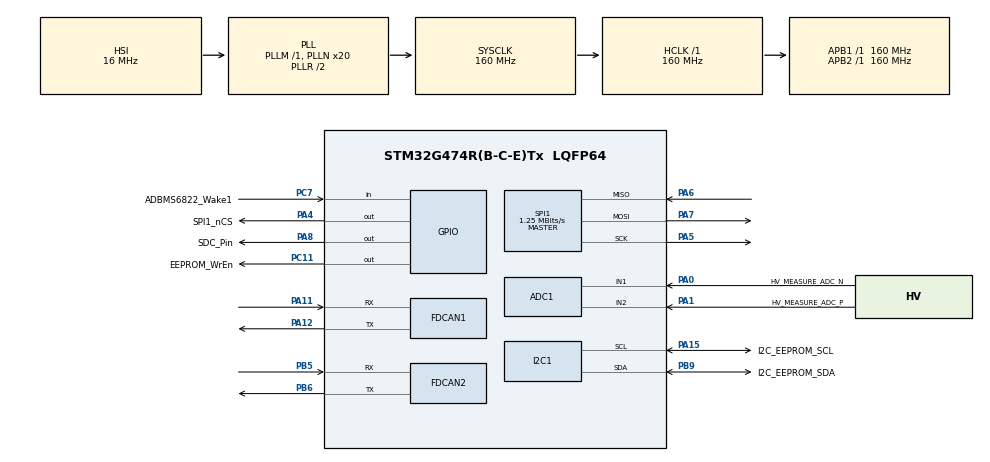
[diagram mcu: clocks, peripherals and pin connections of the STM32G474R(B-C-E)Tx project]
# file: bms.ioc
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ADC1.Channel-2\#ChannelRegularConversion=ADC_CHANNEL_1
ADC1.NbrOfConversionFlag=1
ADC1.OffsetNumber-2\#ChannelRegularConversion=ADC_OFFSET_NONE
ADC1.Rank-2\#ChannelRegularConversion=1
ADC1.SamplingTime-2\#ChannelRegularConversion=ADC_SAMPLETIME_2CYCLES_5
ADC1.SingleDiff-2\#ChannelRegularConversion=ADC_DIFFERENTIAL_ENDED
ADC1.master=1
Dma.Request0=SPI1_RX
Dma.Request1=SPI1_TX
Dma.SPI1_RX.0.Direction=DMA_PERIPH_TO_MEMORY
Dma.SPI1_RX.0.EventEnable=DISABLE
Dma.SPI1_RX.0.Instance=DMA1_Channel1
Dma.SPI1_RX.0.MemDataAlignment=DMA_MDATAALIGN_BYTE
Dma.SPI1_RX.0.MemInc=DMA_MINC_ENABLE
Dma.SPI1_RX.0.Mode=DMA_NORMAL
Dma.SPI1_RX.0.PeriphDataAlignment=DMA_PDATAALIGN_BYTE
Dma.SPI1_RX.0.PeriphInc=DMA_PINC_DISABLE
Dma.SPI1_RX.0.Polarity=HAL_DMAMUX_REQ_GEN_RISING
Dma.SPI1_RX.0.Priority=DMA_PRIORITY_MEDIUM
Dma.SPI1_RX.0.RequestNumber=1
Dma.SPI1_RX.0.SignalID=NONE
Dma.SPI1_RX.0.SyncEnable=DISABLE
Dma.SPI1_RX.0.SyncPolarity=HAL_DMAMUX_SYNC_NO_EVENT
Dma.SPI1_RX.0.SyncRequestNumber=1
Dma.SPI1_RX.0.SyncSignalID=NONE
Dma.SPI1_TX.1.Direction=DMA_MEMORY_TO_PERIPH
Dma.SPI1_TX.1.EventEnable=DISABLE
Dma.SPI1_TX.1.Instance=DMA1_Channel2
Dma.SPI1_TX.1.MemDataAlignment=DMA_MDATAALIGN_BYTE
Dma.SPI1_TX.1.MemInc=DMA_MINC_ENABLE
Dma.SPI1_TX.1.Mode=DMA_NORMAL
Dma.SPI1_TX.1.PeriphDataAlignment=DMA_PDATAALIGN_BYTE
Dma.SPI1_TX.1.PeriphInc=DMA_PINC_DISABLE
Dma.SPI1_TX.1.Polarity=HAL_DMAMUX_REQ_GEN_RISING
Dma.SPI1_TX.1.Priority=DMA_PRIORITY_LOW
Dma.SPI1_TX.1.RequestNumber=1
Dma.SPI1_TX.1.SignalID=NONE
Dma.SPI1_TX.1.SyncEnable=DISABLE
Dma.SPI1_TX.1.SyncPolarity=HAL_DMAMUX_SYNC_NO_EVENT
Dma.SPI1_TX.1.SyncRequestNumber=1
Dma.SPI1_TX.1.SyncSignalID=NONE
FDCAN1.AutoRetransmission=ENABLE
FDCAN1.CalculateBaudRateNominal=500000
FDCAN1.CalculateTimeBitNominal=2000
FDCAN1.CalculateTimeQuantumNominal=100.0
FDCAN1.ClockDivider=FDCAN_CLOCK_DIV1
FDCAN1.DataPrescaler=4
FDCAN1.DataSyncJumpWidth=4
FDCAN1.DataTimeSeg1=15
FDCAN1.DataTimeSeg2=4
FDCAN1.ExtFiltersNbr=2
FDCAN1.NominalPrescaler=4
FDCAN1.NominalSyncJumpWidth=4
FDCAN1.NominalTimeSeg1=15
FDCAN1.NominalTimeSeg2=4
FDCAN2.AutoRetransmission=ENABLE
FDCAN2.CalculateBaudRateNominal=1000000
FDCAN2.CalculateTimeBitNominal=1000
FDCAN2.CalculateTimeQuantumNominal=50.0
FDCAN2.DataPrescaler=2
FDCAN2.DataSyncJumpWidth=4
FDCAN2.DataTimeSeg1=15
FDCAN2.DataTimeSeg2=4
FDCAN2.ExtFiltersNbr=2
FDCAN2.FrameFormat=FDCAN_FRAME_FD_NO_BRS
FDCAN2.NominalPrescaler=2
FDCAN2.NominalSyncJumpWidth=4
FDCAN2.NominalTimeSeg1=15
FDCAN2.NominalTimeSeg2=4
FDCAN2.StdFiltersNbr=2
FREERTOS.HEAP_NUMBER=4
FREERTOS.Tasks01=defaultTask,24,128,defaultTaskFn,Default,NULL,Dynamic,NULL,NULL
FREERTOS.configCHECK_FOR_STACK_OVERFLOW=2
FREERTOS.configENABLE_FPU=1
FREERTOS.configGENERATE_RUN_TIME_STATS=0
FREERTOS.configTOTAL_HEAP_SIZE=20480
FREERTOS.configUSE_MALLOC_FAILED_HOOK=1
FREERTOS.configUSE_STATS_FORMATTING_FUNCTIONS=1
I2C1.Timing=0x30D29DE4
Mcu.Family=STM32G4
Mcu.Name=STM32G474R(B-C-E)Tx
Mcu.Package=LQFP64
NVIC.DMA1_Channel1_IRQn=true\:6\:0\:true\:false\:true\:true\:false\:true\:true
NVIC.DMA1_Channel2_IRQn=true\:6\:0\:true\:false\:true\:true\:false\:true\:true
NVIC.FDCAN1_IT0_IRQn=true\:5\:0\:false\:false\:true\:true\:true\:true\:true
NVIC.FDCAN2_IT0_IRQn=true\:5\:0\:false\:false\:true\:true\:true\:true\:true
NVIC.PriorityGroup=NVIC_PRIORITYGROUP_4
NVIC.TIM5_IRQn=true\:15\:0\:false\:false\:true\:false\:false\:true\:true
NVIC.TimeBase=TIM5_IRQn
NVIC.TimeBaseIP=TIM5
PA0.GPIO_Label=HV_MEASURE_ADC_N
PA0.Mode=IN1-Differential
PA0.Signal=ADC1_IN1
PA1.GPIO_Label=HV_MEASURE_ADC_P
PA1.Mode=IN1-Differential
PA1.Signal=ADC1_IN2
PA11.Mode=FDCAN_Activate
PA11.Signal=FDCAN1_RX
PA12.Mode=FDCAN_Activate
PA12.Signal=FDCAN1_TX
PA13.GPIO_Label=SWD_SWDIO
PA13.Mode=Trace_Asynchronous_SW
PA13.Signal=SYS_JTMS-SWDIO
PA14.GPIO_Label=SWD_SWCLK
PA14.Mode=Trace_Asynchronous_SW
PA14.Signal=SYS_JTCK-SWCLK
PA15.GPIO_Label=I2C_EEPROM_SCL
PA15.Mode=I2C
PA15.Signal=I2C1_SCL
PA4.GPIO_Label=SPI1_nCS
PA4.PinState=GPIO_PIN_SET
PA4.Signal=GPIO_Output
PA5.Mode=Full_Duplex_Master
PA5.Signal=SPI1_SCK
PA6.Mode=Full_Duplex_Master
PA6.Signal=SPI1_MISO
PA7.Mode=Full_Duplex_Master
PA7.Signal=SPI1_MOSI
PA8.GPIO_Label=SDC_Pin
PA8.Signal=GPIO_Output
PB3.GPIO_Label=SWD_SWO
PB3.Mode=Trace_Asynchronous_SW
PB3.Signal=SYS_JTDO-SWO
PB5.Mode=FDCAN_Activate
PB5.Signal=FDCAN2_RX
PB6.Mode=FDCAN_Activate
PB6.Signal=FDCAN2_TX
PB9.GPIO_Label=I2C_EEPROM_SDA
PB9.Mode=I2C
PB9.Signal=I2C1_SDA
PC11.GPIO_Label=EEPROM_WrEn
PC11.Signal=GPIO_Output
PC7.GPIO_Label=ADBMS6822_Wake1
PC7.Signal=GPIO_Input
PF0-OSC_IN.GPIO_Label=RCC_OSC_IN
PF0-OSC_IN.Mode=HSE-External-Oscillator
PF0-OSC_IN.Signal=RCC_OSC_IN
PF1-OSC_OUT.GPIO_Label=RCC_OSC_OUT
PF1-OSC_OUT.Mode=HSE-External-Oscillator
PF1-OSC_OUT.Signal=RCC_OSC_OUT
ProjectManager.HeapSize=0x200
ProjectManager.StackSize=0x400
ProjectManager.TargetToolchain=CMake
RCC.ADC12Freq_Value=160000000
RCC.ADC345Freq_Value=160000000
RCC.AHBFreq_Value=160000000
RCC.APB1Freq_Value=160000000
RCC.APB1TimFreq_Value=160000000
RCC.APB2Freq_Value=160000000
RCC.APB2TimFreq_Value=160000000
RCC.CortexFreq_Value=160000000
RCC.EXTERNAL_CLOCK_VALUE=12288000
RCC.FDCANCLockSelection=RCC_FDCANCLKSOURCE_PLL
RCC.HCLKFreq_Value=160000000
RCC.HSE_VALUE=40000000
RCC.HSI48_VALUE=48000000
RCC.HSI_VALUE=16000000
RCC.LSE_VALUE=32768
RCC.PLLN=20
RCC.PLLQ=RCC_PLLQ_DIV8
RCC.RTCClockSelection=RCC_RTCCLKSOURCE_LSE
RCC.SYSCLKFreq_VALUE=160000000
RCC.SYSCLKSource=RCC_SYSCLKSOURCE_PLLCLK
RCC.USBFreq_Value=40000000
RCC.VCOOutputFreq_Value=320000000
SPI1.BaudRatePrescaler=SPI_BAUDRATEPRESCALER_128
SPI1.CLKPhase=SPI_PHASE_2EDGE
SPI1.CLKPolarity=SPI_POLARITY_HIGH
SPI1.CalculateBaudRate=1.25 MBits/s
SPI1.DataSize=SPI_DATASIZE_8BIT
SPI1.Direction=SPI_DIRECTION_2LINES
SPI1.Mode=SPI_MODE_MASTER
SPI1.VirtualType=VM_MASTER
TIM2.Prescaler=159
VP_FREERTOS_VS_CMSIS_V2.Mode=CMSIS_V2
VP_SYS_VS_DBSignals.Mode=DisableDeadBatterySignals
VP_SYS_VS_tim5.Mode=TIM5
VP_TIM2_VS_ClockSourceINT.Mode=Internal
VP_TIM3_VS_ClockSourceINT.Mode=Internal
board=NUCLEO-G474RE

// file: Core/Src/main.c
/* USER CODE BEGIN Header */
/**
 ******************************************************************************
 * @file           : main.c
 * @brief          : Main program body
 ******************************************************************************
 * @attention
 *
 * Copyright (c) 2025 STMicroelectronics.
 * All rights reserved.
 *
 * This software is licensed under terms that can be found in the LICENSE file
 * in the root directory of this software component.
 * If no LICENSE file comes with this software, it is provided AS-IS.
 *
 ******************************************************************************
 */
/* USER CODE END Header */
#include "main.h"
#include "cmsis_os.h"

/* USER CODE BEGIN Includes */

#include "bms_board.h"
#include "can.h"
#include "can2_job.h"
#include "bms_watchdog.h"
#include "ev27_port.h"
#include "fdcan.h"
#include "gui_can_job.h"
#include "gui_types.h"
#include "safety_monitor.h"
#include "state.h"
#include "supervisor.h"
#include <string.h>

/* USER CODE END Includes */

ADC_HandleTypeDef hadc1;

FDCAN_HandleTypeDef hfdcan1;
FDCAN_HandleTypeDef hfdcan2;

I2C_HandleTypeDef hi2c1;

SPI_HandleTypeDef hspi1;
DMA_HandleTypeDef hdma_spi1_rx;
DMA_HandleTypeDef hdma_spi1_tx;

TIM_HandleTypeDef htim2;
TIM_HandleTypeDef htim3;

/* Definitions for defaultTask */
osThreadId_t defaultTaskHandle;
const osThreadAttr_t defaultTask_attributes = {
  .name = "defaultTask",
  .priority = (osPriority_t) osPriorityNormal,
  .stack_size = 128 * 4
};
/* USER CODE BEGIN PV */
osThreadId_t spi_thread_pid;
osMutexId_t spi_mutex_id;
osMutexId_t bms_mutex_id;
osMessageQueueId_t fdcan_rx_dispatch_queueHandle;
osMessageQueueId_t can2_rx_dispatch_queueHandle;
osMessageQueueId_t can2_rx_processing_queueHandle;
osMessageQueueId_t charger_power_setpoint_queueHandle;

/* USER CODE END PV */

void SystemClock_Config(void);
static void MX_GPIO_Init(void);
static void MX_DMA_Init(void);
static void MX_ADC1_Init(void);
static void MX_SPI1_Init(void);
static void MX_FDCAN1_Init(void);
static void MX_FDCAN2_Init(void);
static void MX_TIM3_Init(void);
static void MX_I2C1_Init(void);
static void MX_TIM2_Init(void);
void defaultTaskFn(void *argument);

/* USER CODE BEGIN PFP */
static void bms_controller_config_apply(void);

/* USER CODE END PFP */

int main(void)
{

  /* MCU Configuration--------------------------------------------------------*/

  /* Reset of all peripherals, Initializes the Flash interface and the Systick. */
  HAL_Init();

  /* Configure the system clock */
  SystemClock_Config();

  /* Initialize all configured peripherals */
  MX_GPIO_Init();
  MX_DMA_Init();
  MX_ADC1_Init();
  MX_SPI1_Init();
  MX_FDCAN1_Init();
  MX_FDCAN2_Init();
  MX_TIM3_Init();
  MX_I2C1_Init();
  MX_TIM2_Init();
  /* USER CODE BEGIN 2 */
  bms_watchdog_start();          /* 20 s BMS watchdog + 25 s IWDG backstop (App/services/watchdog) */
  bms_controller_config_apply();/* pin/SPI overrides for BMS_BOARD (see App/config/bms_board.h) */
  HAL_TIM_Base_Start(&htim2);   /* 1 MHz free-running counter for ev27_port_time_us() */

  /* USER CODE END 2 */

  /* Init scheduler */
  osKernelInitialize();

  /* USER CODE BEGIN RTOS_MUTEX */
  spi_mutex_id = osMutexNew(&spi_mutex_attr);
  bms_mutex_id = osMutexNew(&bms_mutex_attr);
  /* add mutexes, ... */
  /* USER CODE END RTOS_MUTEX */

  /* USER CODE BEGIN RTOS_QUEUES */
  /* add queues, ... */
  fdcan_rx_dispatch_queueHandle =
      osMessageQueueNew(16, sizeof(fdcan_msg_t), NULL);
  configASSERT(fdcan_rx_dispatch_queueHandle != NULL);

  can2_rx_dispatch_queueHandle =
      osMessageQueueNew(16, sizeof(can2_msg_t), NULL);
  configASSERT(can2_rx_dispatch_queueHandle != NULL);

  charger_power_setpoint_queueHandle =
      osMessageQueueNew(1, sizeof(charger_power_setpoint_t),
                        &charger_power_setpoint_queue_attributes);
  configASSERT(charger_power_setpoint_queueHandle != NULL);

  /* main bus (FDCAN2): ev27 + GUI filters, RX queue, then starts FDCAN2 */
  ev27_can_start();
  configASSERT(ev27_rx_queue != NULL);
  /* USER CODE END RTOS_QUEUES */

  /* Create the thread(s) */
  /* creation of defaultTask */
  defaultTaskHandle = osThreadNew(defaultTaskFn, NULL, &defaultTask_attributes);

  /* USER CODE BEGIN RTOS_THREADS */
  /* add threads, ... */
  osThreadId_t bms_safety_osTaskHandler __attribute__((unused)) =
      osThreadNew(bms_safety_task, (void *)&bms_safety_task_time,
                  &bms_safety_task_attributes);
  configASSERT(bms_safety_osTaskHandler != NULL);

  // osThreadId_t gui_can_job_osTaskHandler __attribute__((unused)) =
  osThreadId_t gui_can_job_osTaskHandler __attribute__((unused)) =
      osThreadNew(gui_can_job_runner, NULL, &gui_can_job_runner_attributes);
  configASSERT(gui_can_job_osTaskHandler != NULL);

  // osThreadId_t can2_job_osTaskHandler __attribute__((unused)) =
  osThreadId_t can2_job_osTaskHandler __attribute__((unused)) =
      osThreadNew(can2_job_runner, NULL, &can2_job_runner_attributes);
  configASSERT(can2_job_osTaskHandler != NULL);

  /* main bus: ev27 TimeSync/Command/ChargeControl in, every BMS message out */
  osThreadId_t ev27_can_rx_osTaskHandler __attribute__((unused)) =
      osThreadNew(ev27_can_rx_task, NULL, &ev27_can_rx_task_attributes);
  configASSERT(ev27_can_rx_osTaskHandler != NULL);

  osThreadId_t ev27_can_tx_osTaskHandler __attribute__((unused)) =
      osThreadNew(ev27_can_tx_task, NULL, &ev27_can_tx_task_attributes);
  configASSERT(ev27_can_tx_osTaskHandler != NULL);

  /* USER CODE END RTOS_THREADS */

  /* USER CODE BEGIN RTOS_EVENTS */
  charging_session_active_osEventFlags =
    osEventFlagsNew(&charging_session_active_event_attr);
  configASSERT(charging_session_active_osEventFlags != NULL);
  /* add events, ... */
  /* USER CODE END RTOS_EVENTS */

  /* Start scheduler */
  osKernelStart();

  /* We should never get here as control is now taken by the scheduler */

  /* Infinite loop */
  while (1) {

  }
}

void SystemClock_Config(void)
{
  RCC_OscInitTypeDef RCC_OscInitStruct = {0};
  RCC_ClkInitTypeDef RCC_ClkInitStruct = {0};

  /** Configure the main internal regulator output voltage
  */
  HAL_PWREx_ControlVoltageScaling(PWR_REGULATOR_VOLTAGE_SCALE1_BOOST);

  /** Initializes the RCC Oscillators according to the specified parameters
  * in the RCC_OscInitTypeDef structure.
  */
  RCC_OscInitStruct.OscillatorType = RCC_OSCILLATORTYPE_HSI;
  RCC_OscInitStruct.HSIState = RCC_HSI_ON;
  RCC_OscInitStruct.HSICalibrationValue = RCC_HSICALIBRATION_DEFAULT;
  RCC_OscInitStruct.PLL.PLLState = RCC_PLL_ON;
  RCC_OscInitStruct.PLL.PLLSource = RCC_PLLSOURCE_HSI;
  RCC_OscInitStruct.PLL.PLLM = RCC_PLLM_DIV1;
  RCC_OscInitStruct.PLL.PLLN = 20;
  RCC_OscInitStruct.PLL.PLLP = RCC_PLLP_DIV2;
  RCC_OscInitStruct.PLL.PLLQ = RCC_PLLQ_DIV8;
  RCC_OscInitStruct.PLL.PLLR = RCC_PLLR_DIV2;
  if (HAL_RCC_OscConfig(&RCC_OscInitStruct) != HAL_OK)
  {
    Error_Handler();
  }

  /** Initializes the CPU, AHB and APB buses clocks
  */
  RCC_ClkInitStruct.ClockType = RCC_CLOCKTYPE_HCLK|RCC_CLOCKTYPE_SYSCLK
                              |RCC_CLOCKTYPE_PCLK1|RCC_CLOCKTYPE_PCLK2;
  RCC_ClkInitStruct.SYSCLKSource = RCC_SYSCLKSOURCE_PLLCLK;
  RCC_ClkInitStruct.AHBCLKDivider = RCC_SYSCLK_DIV1;
  RCC_ClkInitStruct.APB1CLKDivider = RCC_HCLK_DIV1;
  RCC_ClkInitStruct.APB2CLKDivider = RCC_HCLK_DIV1;

  if (HAL_RCC_ClockConfig(&RCC_ClkInitStruct, FLASH_LATENCY_4) != HAL_OK)
  {
    Error_Handler();
  }
}

static void MX_ADC1_Init(void)
{

  ADC_MultiModeTypeDef multimode = {0};
  ADC_ChannelConfTypeDef sConfig = {0};

  /** Common config
  */
  hadc1.Instance = ADC1;
  hadc1.Init.ClockPrescaler = ADC_CLOCK_SYNC_PCLK_DIV4;
  hadc1.Init.Resolution = ADC_RESOLUTION_12B;
  hadc1.Init.DataAlign = ADC_DATAALIGN_RIGHT;
  hadc1.Init.GainCompensation = 0;
  hadc1.Init.ScanConvMode = ADC_SCAN_DISABLE;
  hadc1.Init.EOCSelection = ADC_EOC_SINGLE_CONV;
  hadc1.Init.LowPowerAutoWait = DISABLE;
  hadc1.Init.ContinuousConvMode = DISABLE;
  hadc1.Init.NbrOfConversion = 1;
  hadc1.Init.DiscontinuousConvMode = DISABLE;
  hadc1.Init.ExternalTrigConv = ADC_SOFTWARE_START;
  hadc1.Init.ExternalTrigConvEdge = ADC_EXTERNALTRIGCONVEDGE_NONE;
  hadc1.Init.DMAContinuousRequests = DISABLE;
  hadc1.Init.Overrun = ADC_OVR_DATA_PRESERVED;
  hadc1.Init.OversamplingMode = DISABLE;
  if (HAL_ADC_Init(&hadc1) != HAL_OK)
  {
    Error_Handler();
  }

  /** Configure the ADC multi-mode
  */
  multimode.Mode = ADC_MODE_INDEPENDENT;
  if (HAL_ADCEx_MultiModeConfigChannel(&hadc1, &multimode) != HAL_OK)
  {
    Error_Handler();
  }

  /** Configure Regular Channel
  */
  sConfig.Channel = ADC_CHANNEL_1;
  sConfig.Rank = ADC_REGULAR_RANK_1;
  sConfig.SamplingTime = ADC_SAMPLETIME_2CYCLES_5;
  sConfig.SingleDiff = ADC_DIFFERENTIAL_ENDED;
  sConfig.OffsetNumber = ADC_OFFSET_NONE;
  sConfig.Offset = 0;
  if (HAL_ADC_ConfigChannel(&hadc1, &sConfig) != HAL_OK)
  {
    Error_Handler();
  }

}

static void MX_FDCAN1_Init(void)
{

  hfdcan1.Instance = FDCAN1;
  hfdcan1.Init.ClockDivider = FDCAN_CLOCK_DIV1;
  hfdcan1.Init.FrameFormat = FDCAN_FRAME_CLASSIC;
  hfdcan1.Init.Mode = FDCAN_MODE_NORMAL;
  hfdcan1.Init.AutoRetransmission = ENABLE;
  hfdcan1.Init.TransmitPause = DISABLE;
  hfdcan1.Init.ProtocolException = DISABLE;
  hfdcan1.Init.NominalPrescaler = 4;
  hfdcan1.Init.NominalSyncJumpWidth = 4;
  hfdcan1.Init.NominalTimeSeg1 = 15;
  hfdcan1.Init.NominalTimeSeg2 = 4;
  hfdcan1.Init.DataPrescaler = 4;
  hfdcan1.Init.DataSyncJumpWidth = 4;
  hfdcan1.Init.DataTimeSeg1 = 15;
  hfdcan1.Init.DataTimeSeg2 = 4;
  hfdcan1.Init.StdFiltersNbr = 0;
  hfdcan1.Init.ExtFiltersNbr = 2;
  hfdcan1.Init.TxFifoQueueMode = FDCAN_TX_FIFO_OPERATION;
  if (HAL_FDCAN_Init(&hfdcan1) != HAL_OK)
  {
    Error_Handler();
  }

}

static void MX_FDCAN2_Init(void)
{

  hfdcan2.Instance = FDCAN2;
  hfdcan2.Init.ClockDivider = FDCAN_CLOCK_DIV1;
  hfdcan2.Init.FrameFormat = FDCAN_FRAME_FD_NO_BRS;
  hfdcan2.Init.Mode = FDCAN_MODE_NORMAL;
  hfdcan2.Init.AutoRetransmission = ENABLE;
  hfdcan2.Init.TransmitPause = DISABLE;
  hfdcan2.Init.ProtocolException = DISABLE;
  hfdcan2.Init.NominalPrescaler = 2;
  hfdcan2.Init.NominalSyncJumpWidth = 4;
  hfdcan2.Init.NominalTimeSeg1 = 15;
  hfdcan2.Init.NominalTimeSeg2 = 4;
  hfdcan2.Init.DataPrescaler = 2;
  hfdcan2.Init.DataSyncJumpWidth = 4;
  hfdcan2.Init.DataTimeSeg1 = 15;
  hfdcan2.Init.DataTimeSeg2 = 4;
  hfdcan2.Init.StdFiltersNbr = 2;
  hfdcan2.Init.ExtFiltersNbr = 2;
  hfdcan2.Init.TxFifoQueueMode = FDCAN_TX_FIFO_OPERATION;
  if (HAL_FDCAN_Init(&hfdcan2) != HAL_OK)
  {
    Error_Handler();
  }

}

static void MX_I2C1_Init(void)
{

  hi2c1.Instance = I2C1;
  hi2c1.Init.Timing = 0x30D29DE4;
  hi2c1.Init.OwnAddress1 = 0;
  hi2c1.Init.AddressingMode = I2C_ADDRESSINGMODE_7BIT;
  hi2c1.Init.DualAddressMode = I2C_DUALADDRESS_DISABLE;
  hi2c1.Init.OwnAddress2 = 0;
  hi2c1.Init.OwnAddress2Masks = I2C_OA2_NOMASK;
  hi2c1.Init.GeneralCallMode = I2C_GENERALCALL_DISABLE;
  hi2c1.Init.NoStretchMode = I2C_NOSTRETCH_DISABLE;
  if (HAL_I2C_Init(&hi2c1) != HAL_OK)
  {
    Error_Handler();
  }

  /** Configure Analogue filter
  */
  if (HAL_I2CEx_ConfigAnalogFilter(&hi2c1, I2C_ANALOGFILTER_ENABLE) != HAL_OK)
  {
    Error_Handler();
  }

  /** Configure Digital filter
  */
  if (HAL_I2CEx_ConfigDigitalFilter(&hi2c1, 0) != HAL_OK)
  {
    Error_Handler();
  }

}

static void MX_SPI1_Init(void)
{

  /* SPI1 parameter configuration*/
  hspi1.Instance = SPI1;
  hspi1.Init.Mode = SPI_MODE_MASTER;
  hspi1.Init.Direction = SPI_DIRECTION_2LINES;
  hspi1.Init.DataSize = SPI_DATASIZE_8BIT;
  hspi1.Init.CLKPolarity = SPI_POLARITY_HIGH;
  hspi1.Init.CLKPhase = SPI_PHASE_2EDGE;
  hspi1.Init.NSS = SPI_NSS_SOFT;
  hspi1.Init.BaudRatePrescaler = SPI_BAUDRATEPRESCALER_128;
  hspi1.Init.FirstBit = SPI_FIRSTBIT_MSB;
  hspi1.Init.TIMode = SPI_TIMODE_DISABLE;
  hspi1.Init.CRCCalculation = SPI_CRCCALCULATION_DISABLE;
  hspi1.Init.CRCPolynomial = 7;
  hspi1.Init.CRCLength = SPI_CRC_LENGTH_DATASIZE;
  hspi1.Init.NSSPMode = SPI_NSS_PULSE_DISABLE;
  if (HAL_SPI_Init(&hspi1) != HAL_OK)
  {
    Error_Handler();
  }

}

static void MX_TIM2_Init(void)
{

  TIM_ClockConfigTypeDef sClockSourceConfig = {0};
  TIM_MasterConfigTypeDef sMasterConfig = {0};

  htim2.Instance = TIM2;
  htim2.Init.Prescaler = 159;
  htim2.Init.CounterMode = TIM_COUNTERMODE_UP;
  htim2.Init.Period = 4294967295;
  htim2.Init.ClockDivision = TIM_CLOCKDIVISION_DIV1;
  htim2.Init.AutoReloadPreload = TIM_AUTORELOAD_PRELOAD_DISABLE;
  if (HAL_TIM_Base_Init(&htim2) != HAL_OK)
  {
    Error_Handler();
  }
  sClockSourceConfig.ClockSource = TIM_CLOCKSOURCE_INTERNAL;
  if (HAL_TIM_ConfigClockSource(&htim2, &sClockSourceConfig) != HAL_OK)
  {
    Error_Handler();
  }
  sMasterConfig.MasterOutputTrigger = TIM_TRGO_RESET;
  sMasterConfig.MasterSlaveMode = TIM_MASTERSLAVEMODE_DISABLE;
  if (HAL_TIMEx_MasterConfigSynchronization(&htim2, &sMasterConfig) != HAL_OK)
  {
    Error_Handler();
  }

}

static void MX_TIM3_Init(void)
{

  TIM_ClockConfigTypeDef sClockSourceConfig = {0};
  TIM_MasterConfigTypeDef sMasterConfig = {0};

  htim3.Instance = TIM3;
  htim3.Init.Prescaler = 0;
  htim3.Init.CounterMode = TIM_COUNTERMODE_UP;
  htim3.Init.Period = 65535;
  htim3.Init.ClockDivision = TIM_CLOCKDIVISION_DIV1;
  htim3.Init.AutoReloadPreload = TIM_AUTORELOAD_PRELOAD_DISABLE;
  if (HAL_TIM_Base_Init(&htim3) != HAL_OK)
  {
    Error_Handler();
  }
  sClockSourceConfig.ClockSource = TIM_CLOCKSOURCE_INTERNAL;
  if (HAL_TIM_ConfigClockSource(&htim3, &sClockSourceConfig) != HAL_OK)
  {
    Error_Handler();
  }
  sMasterConfig.MasterOutputTrigger = TIM_TRGO_RESET;
  sMasterConfig.MasterSlaveMode = TIM_MASTERSLAVEMODE_DISABLE;
  if (HAL_TIMEx_MasterConfigSynchronization(&htim3, &sMasterConfig) != HAL_OK)
  {
    Error_Handler();
  }

}

static void MX_DMA_Init(void)
{

  /* DMA controller clock enable */
  __HAL_RCC_DMAMUX1_CLK_ENABLE();
  __HAL_RCC_DMA1_CLK_ENABLE();

  /* DMA interrupt init */
  /* DMA1_Channel1_IRQn interrupt configuration */
  HAL_NVIC_SetPriority(DMA1_Channel1_IRQn, 6, 0);
  HAL_NVIC_EnableIRQ(DMA1_Channel1_IRQn);
  /* DMA1_Channel2_IRQn interrupt configuration */
  HAL_NVIC_SetPriority(DMA1_Channel2_IRQn, 6, 0);
  HAL_NVIC_EnableIRQ(DMA1_Channel2_IRQn);

}

static void MX_GPIO_Init(void)
{
  GPIO_InitTypeDef GPIO_InitStruct = {0};

  /* GPIO Ports Clock Enable */
  __HAL_RCC_GPIOF_CLK_ENABLE();
  __HAL_RCC_GPIOA_CLK_ENABLE();
  __HAL_RCC_GPIOC_CLK_ENABLE();
  __HAL_RCC_GPIOB_CLK_ENABLE();

  /*Configure GPIO pin Output Level */
  HAL_GPIO_WritePin(SPI1_nCS_GPIO_Port, SPI1_nCS_Pin, GPIO_PIN_SET);

  /*Configure GPIO pin Output Level */
  HAL_GPIO_WritePin(SDC_Pin_GPIO_Port, SDC_Pin_Pin, GPIO_PIN_RESET);

  /*Configure GPIO pin Output Level */
  HAL_GPIO_WritePin(EEPROM_WrEn_GPIO_Port, EEPROM_WrEn_Pin, GPIO_PIN_RESET);

  /*Configure GPIO pins : SPI1_nCS_Pin SDC_Pin_Pin */
  GPIO_InitStruct.Pin = SPI1_nCS_Pin|SDC_Pin_Pin;
  GPIO_InitStruct.Mode = GPIO_MODE_OUTPUT_PP;
  GPIO_InitStruct.Pull = GPIO_NOPULL;
  GPIO_InitStruct.Speed = GPIO_SPEED_FREQ_LOW;
  HAL_GPIO_Init(GPIOA, &GPIO_InitStruct);

  /*Configure GPIO pin : ADBMS6822_Wake1_Pin */
  GPIO_InitStruct.Pin = ADBMS6822_Wake1_Pin;
  GPIO_InitStruct.Mode = GPIO_MODE_INPUT;
  GPIO_InitStruct.Pull = GPIO_NOPULL;
  HAL_GPIO_Init(ADBMS6822_Wake1_GPIO_Port, &GPIO_InitStruct);

  /*Configure GPIO pin : EEPROM_WrEn_Pin */
  GPIO_InitStruct.Pin = EEPROM_WrEn_Pin;
  GPIO_InitStruct.Mode = GPIO_MODE_OUTPUT_PP;
  GPIO_InitStruct.Pull = GPIO_NOPULL;
  GPIO_InitStruct.Speed = GPIO_SPEED_FREQ_LOW;
  HAL_GPIO_Init(EEPROM_WrEn_GPIO_Port, &GPIO_InitStruct);

  /* USER CODE BEGIN MX_GPIO_Init_2 */
  HAL_GPIO_WritePin(SDC_Pin_GPIO_Port, SDC_Pin_Pin, GPIO_PIN_SET);
  /* USER CODE END MX_GPIO_Init_2 */
}

/* USER CODE BEGIN 4 */
/**
 * @brief Re-map pins for the board selected by BMS_BOARD.
 *
 * bms.ioc and the generated MX_*_Init code are always the CONTROLLER board.
 * Anything another board does differently is undone/redone here, after the
 * MX_*_Init calls and before the scheduler (and so before FDCAN is started).
 */
static void bms_controller_config_apply(void)
{
#if BMS_BOARD == BMS_BOARD_NUCLEO
  /* Nucleo-G474RE + ADBMS6822 eval HAT + external transceiver on FDCAN2 */
  GPIO_InitTypeDef GPIO_InitStruct = {0};

  /* FDCAN2: controller uses PB5/PB6, the Nucleo bench uses PB12 (RX) / PB13 (TX) */
  HAL_GPIO_DeInit(GPIOB, GPIO_PIN_5 | GPIO_PIN_6);
  GPIO_InitStruct.Pin = GPIO_PIN_12 | GPIO_PIN_13;
  GPIO_InitStruct.Mode = GPIO_MODE_AF_PP;
  GPIO_InitStruct.Pull = GPIO_NOPULL;
  GPIO_InitStruct.Speed = GPIO_SPEED_FREQ_LOW;
  GPIO_InitStruct.Alternate = GPIO_AF9_FDCAN2;
  HAL_GPIO_Init(GPIOB, &GPIO_InitStruct);

  /* 6822 CS: controller PA4, HAT CS is on Arduino D10 = PB6 */
  HAL_GPIO_DeInit(SPI1_nCS_GPIO_Port, SPI1_nCS_Pin);
  HAL_GPIO_WritePin(BMS_ASIC_CS_PORT, BMS_ASIC_CS_PIN, GPIO_PIN_SET);
  GPIO_InitStruct.Pin = BMS_ASIC_CS_PIN;
  GPIO_InitStruct.Mode = GPIO_MODE_OUTPUT_PP;
  GPIO_InitStruct.Pull = GPIO_NOPULL;
  GPIO_InitStruct.Speed = GPIO_SPEED_FREQ_LOW;
  GPIO_InitStruct.Alternate = 0;
  HAL_GPIO_Init(BMS_ASIC_CS_PORT, &GPIO_InitStruct);

  /* PC7: controller = 6822 WAKE-1 (input), HAT = CSB_2, hold it high (inactive) */
  HAL_GPIO_WritePin(GPIOC, GPIO_PIN_7, GPIO_PIN_SET);
  GPIO_InitStruct.Pin = GPIO_PIN_7;
  HAL_GPIO_Init(GPIOC, &GPIO_InitStruct);

  /* SPI mode: controller ties PHA/POL high (mode 3), the HAT is jumpered for mode 0 */
  hspi1.Init.CLKPolarity = SPI_POLARITY_LOW;
  hspi1.Init.CLKPhase = SPI_PHASE_1EDGE;
  if (HAL_SPI_Init(&hspi1) != HAL_OK)
  {
    Error_Handler();
  }
#endif /* BMS_BOARD == BMS_BOARD_CONTROLLER: nothing to change */
}

// void HAL_GPIO_EXTI_Callback(uint16_t GPIO_Pin) {
//   HAL_GPIO_TogglePin(GPIOB, GPIO_PIN_5);
// }
/* USER CODE END 4 */

void defaultTaskFn(void *argument)
{
  for (;;) {
    osDelay(1);
  }
}

void HAL_TIM_PeriodElapsedCallback(TIM_HandleTypeDef *htim)
{
  if (htim->Instance == TIM5)
  {
    HAL_IncTick();
  }
  /* USER CODE BEGIN Callback 1 */
  if (htim->Instance == TIM5)
  {
    bms_watchdog_tick_1ms(); /* 20 s without a feed: SDC open, CAN frame, restart */
  }
  /* USER CODE END Callback 1 */
}

void Error_Handler(void)
{
  __disable_irq();
  while (1) {
  }
}
#ifdef USE_FULL_ASSERT
/**
  * @brief  Reports the name of the source file and the source line number
  *         where the assert_param error has occurred.
  * @param  file: pointer to the source file name
  * @param  line: assert_param error line source number
  * @retval None
  */
void assert_failed(uint8_t *file, uint32_t line)
{
  /* USER CODE BEGIN 6 */
  /* User can add his own implementation to report the file name and line
     number, ex: printf("Wrong parameters value: file %s on line %d\r\n", file,
     line) */
  /* USER CODE END 6 */
}
#endif /* USE_FULL_ASSERT */

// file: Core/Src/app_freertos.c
/* USER CODE BEGIN Header */
/**
  ******************************************************************************
  * File Name          : app_freertos.c
  * Description        : Code for freertos applications
  ******************************************************************************
  * @attention
  *
  * Copyright (c) 2026 STMicroelectronics.
  * All rights reserved.
  *
  * This software is licensed under terms that can be found in the LICENSE file
  * in the root directory of this software component.
  * If no LICENSE file comes with this software, it is provided AS-IS.
  *
  ******************************************************************************
  */
/* USER CODE END Header */

#include "FreeRTOS.h"
#include "task.h"
#include "main.h"

/* USER CODE BEGIN Variables */
volatile const char *g_stack_overflow_task;

/* USER CODE END Variables */

/* Hook prototypes */
void vApplicationStackOverflowHook(xTaskHandle xTask, signed char *pcTaskName);
void vApplicationMallocFailedHook(void);

/* USER CODE BEGIN 4 */
void vApplicationStackOverflowHook(xTaskHandle xTask, signed char *pcTaskName)
{
  (void)xTask;
  g_stack_overflow_task = (const char *)pcTaskName; // the culprit task name
  __disable_irq();
  for (;;) {
    __BKPT(0); // breakpoint
  }
}
/* USER CODE END 4 */

/* USER CODE BEGIN 5 */
void vApplicationMallocFailedHook(void)
{
   /* vApplicationMallocFailedHook() will only be called if
   configUSE_MALLOC_FAILED_HOOK is set to 1 in FreeRTOSConfig.h. It is a hook
   function that will get called if a call to pvPortMalloc() fails.
   pvPortMalloc() is called internally by the kernel whenever a task, queue,
   timer or semaphore is created. It is also called by various parts of the
   demo application. If heap_1.c or heap_2.c are used, then the size of the
   heap available to pvPortMalloc() is defined by configTOTAL_HEAP_SIZE in
   FreeRTOSConfig.h, and the xPortGetFreeHeapSize() API function can be used
   to query the size of free heap space that remains (although it does not
   provide information on how the remaining heap might be fragmented). */
  __disable_irq();
  for (;;) {
    __BKPT(0); // breakpoint
  }
}
/* USER CODE END 5 */
